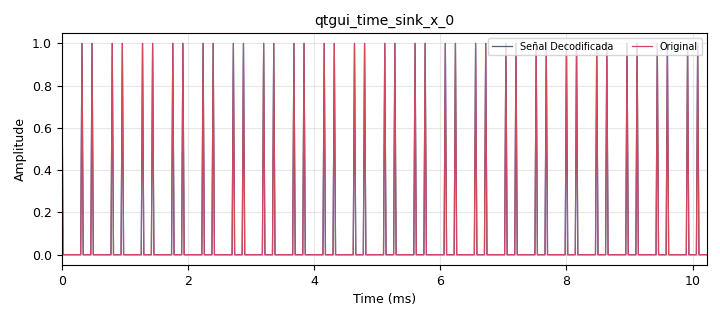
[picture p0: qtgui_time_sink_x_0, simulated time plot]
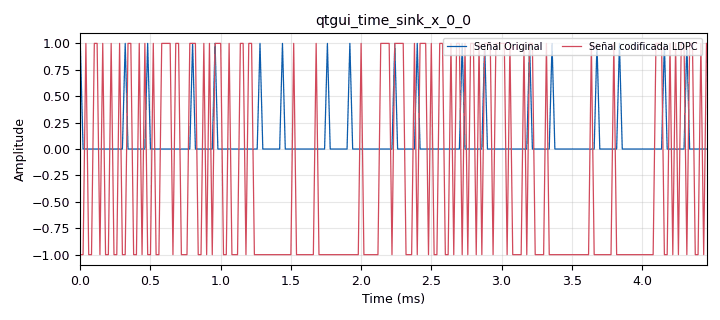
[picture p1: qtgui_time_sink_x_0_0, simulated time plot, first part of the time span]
options:
  parameters:
    author: Camila Vinza
    category: Custom
    generate_options: qt_gui
    id: LDPC_DECODER
    output_language: python
    title: DECODIFICADOR LDPC
  states: {}

blocks:
- name: MTU
  id: variable
  parameters:
    value: '1512'
  states: {}
- name: ldpc_dec
  id: variable_ldpc_decoder_def
  parameters:
    file: gr.prefix() + "/share/gnuradio/fec/ldpc/" + "n_0100_k_0042_gap_02.alist"
    max_iter: '50'
    ndim: '0'
  states: {}
- name: ldpc_enc
  id: variable_ldpc_encoder_def
  parameters:
    file: gr.prefix() + "/share/gnuradio/fec/ldpc/" + "n_0100_k_0042_gap_02.alist"
    ndim: '0'
  states: {}
- name: samp_rate
  id: variable
  parameters:
    value: '50000'
  states: {}
- name: blocks_char_to_float_0
  id: blocks_char_to_float
  parameters:
    scale: '1'
  states: {}
- name: blocks_char_to_float_0_0_0_0
  id: blocks_char_to_float
  parameters:
    scale: '1'
  states: {}
- name: blocks_char_to_float_0_1
  id: blocks_char_to_float
  parameters:
    scale: '1'
  states: {}
- name: blocks_char_to_float_0_1_0
  id: blocks_char_to_float
  parameters:
    scale: '1'
  states: {}
- name: blocks_repack_bits_bb_0_0
  id: blocks_repack_bits_bb
  parameters:
    endianness: gr.GR_LSB_FIRST
    k: '8'
    l: '1'
    len_tag_key: size
  states: {}
- name: blocks_stream_to_tagged_stream_0_0
  id: blocks_stream_to_tagged_stream
  parameters:
    len_tag_key: size
    packet_len: frame_size
    type: byte
  states: {}
- name: blocks_throttle2_0
  id: blocks_throttle2
  parameters:
    samples_per_second: samp_rate
    type: byte
  states: {}
- name: blocks_vector_source_x_0_1_0
  id: blocks_vector_source_x
  parameters:
    repeat: 'True'
    type: byte
    vector: (frame_size//15)*[0, 1,1]
  states: {}
- name: digital_map_bb_0
  id: digital_map_bb
  parameters:
    map: '[-1,1]'
  states: {}
- name: fec_async_decoder_0
  id: fec_async_decoder
  parameters:
    decoder: ldpc_dec
    mtu: MTU
  states: {}
- name: fec_async_encoder_0
  id: fec_async_encoder
  parameters:
    encoder: ldpc_enc
    mtu: MTU
  states: {}
- name: frame_size
  id: parameter
  parameters:
    label: Frame Size
    type: intx
    value: '42'
  states: {}
- name: pdu_pdu_to_tagged_stream_0
  id: pdu_pdu_to_tagged_stream
  parameters:
    tag: size
    type: byte
  states: {}
- name: pdu_pdu_to_tagged_stream_0_0
  id: pdu_pdu_to_tagged_stream
  parameters:
    tag: size
    type: byte
  states: {}
- name: pdu_tagged_stream_to_pdu_0
  id: pdu_tagged_stream_to_pdu
  parameters:
    tag: size
    type: byte
  states: {}
- name: pdu_tagged_stream_to_pdu_1
  id: pdu_tagged_stream_to_pdu
  parameters:
    tag: size
    type: float
  states: {}
- name: puncpat
  id: parameter
  parameters:
    value: '''11'''
  states: {}
- name: qtgui_time_sink_x_0
  id: qtgui_time_sink_x
  parameters:
    alpha2: '0.6'
    autoscale: 'True'
    ctrlpanel: 'True'
    label1: Señal Decodificada
    label2: Original
    nconnections: '2'
    size: '512'
    srate: samp_rate
    type: float
    update_time: '0.01'
    ymax: '1.5'
    ymin: '-0.5'
  states: {}
- name: qtgui_time_sink_x_0_0
  id: qtgui_time_sink_x
  parameters:
    alpha2: '0.6'
    autoscale: 'True'
    color2: green
    ctrlpanel: 'True'
    label1: 'Señal Original '
    label2: Señal codificada LDPC
    nconnections: '2'
    size: '512'
    srate: samp_rate
    type: float
    update_time: '0.01'
    ymax: '1.5'
    ymin: '-0.5'
  states: {}
- name: virtual_sink_0
  id: virtual_sink
  parameters:
    stream_id: original
  states: {}
- name: virtual_sink_0_0
  id: virtual_sink
  parameters:
    stream_id: señal_ldpc
  states: {}
- name: virtual_source_0
  id: virtual_source
  parameters:
    stream_id: original
  states: {}
- name: virtual_source_1
  id: virtual_source
  parameters:
    stream_id: original
  states: {}
- name: virtual_source_2
  id: virtual_source
  parameters:
    stream_id: señal_ldpc
  states: {}

connections:
- [blocks_char_to_float_0, '0', qtgui_time_sink_x_0_0, '0']
- [blocks_char_to_float_0_0_0_0, '0', qtgui_time_sink_x_0, '0']
- [blocks_char_to_float_0_1, '0', virtual_sink_0_0, '0']
- [blocks_char_to_float_0_1_0, '0', qtgui_time_sink_x_0, '1']
- [blocks_repack_bits_bb_0_0, '0', virtual_sink_0, '0']
- [blocks_stream_to_tagged_stream_0_0, '0', blocks_repack_bits_bb_0_0, '0']
- [blocks_throttle2_0, '0', blocks_stream_to_tagged_stream_0_0, '0']
- [blocks_vector_source_x_0_1_0, '0', blocks_throttle2_0, '0']
- [digital_map_bb_0, '0', blocks_char_to_float_0_1, '0']
- [fec_async_decoder_0, out, pdu_pdu_to_tagged_stream_0_0, pdus]
- [fec_async_encoder_0, out, pdu_pdu_to_tagged_stream_0, pdus]
- [pdu_pdu_to_tagged_stream_0, '0', digital_map_bb_0, '0']
- [pdu_pdu_to_tagged_stream_0_0, '0', blocks_char_to_float_0_0_0_0, '0']
- [pdu_tagged_stream_to_pdu_0, pdus, fec_async_encoder_0, in]
- [pdu_tagged_stream_to_pdu_1, pdus, fec_async_decoder_0, in]
- [virtual_source_0, '0', blocks_char_to_float_0, '0']
- [virtual_source_0, '0', pdu_tagged_stream_to_pdu_0, '0']
- [virtual_source_1, '0', blocks_char_to_float_0_1_0, '0']
- [virtual_source_2, '0', pdu_tagged_stream_to_pdu_1, '0']
- [virtual_source_2, '0', qtgui_time_sink_x_0_0, '1']

metadata:
  file_format: 1
  grc_version: 3.10.8.0
